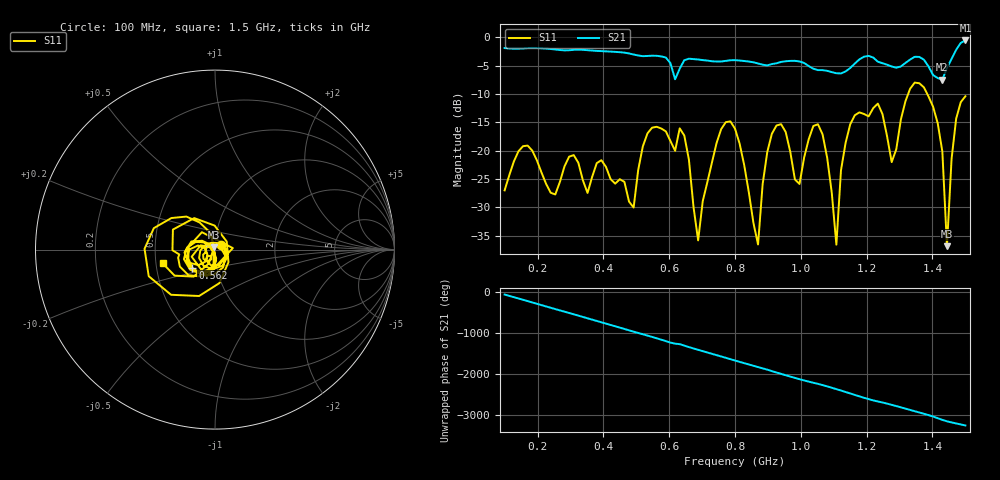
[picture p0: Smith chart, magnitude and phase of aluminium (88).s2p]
! NanoVNA-App
! Date: 2025-09-25 14:55:57
! Start: 100MHz Stop: 1,5GHz Points: 101
! S-Parameter data: F S11 S21 S12 S22
# Hz S RI R 50
!  Frequency  S11_Real  S11_Imag  S21_Real  S21_Imag  S12_Real  S12_Imag  S22_Real  S22_Imag
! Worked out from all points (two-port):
!   101 points, 100 MHz to 1.5 GHz, reference 50 ohm
!   highest |S21| = -0.58 dB at 1.5 GHz (marker M1); lowest = -7.5 dB at 1.43 GHz (marker M2)
!   |S21| within 3 dB of the highest: start of sweep to 589.6 MHz; 1.46 GHz to end of sweep (the widest 2 of 4)
!   lowest |S11| = -36.8 dB at 1.444 GHz (marker M3), VSWR 1.03, Z = 49.5 + j1.33 ohm
!   |S11| at or under -10 dB: start of sweep to 1.326 GHz; 1.384 GHz to end of sweep
!   S12 and S22 are empty: the file has one direction only
!   S11 on the Smith chart (normalised r, x): 100 MHz: 1.07, +0.06; 562 MHz: 0.76, -0.16; 1.5 GHz: 0.54, -0.09
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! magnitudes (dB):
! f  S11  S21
! 100 MHz  -27.0  -1.9
! 170 MHz  -19.1  -1.9
! 338 MHz  -25.3  -2.2
! 492 MHz  -30.0  -3.1
! 562 MHz  -15.8  -3.3
! 576 MHz  -16.1  -3.4
! 646 MHz  -17.3  -4.1
! 688 MHz  -35.8  -3.9
! 800 MHz  -16.1  -4.0
! 870 MHz  -36.5  -4.6
! 912 MHz  -17.0  -4.7
! 996 MHz  -25.9  -4.3
! 1.038 GHz  -15.7  -5.6
! 1.108 GHz  -36.6  -6.4
! 1.122 GHz  -23.5  -6.4
! 1.164 GHz  -13.8  -4.7
! 1.276 GHz  -22.0  -5.2
! 1.346 GHz  -8.0  -3.5
! 1.43 GHz  -20.2  -7.5
! 1.444 GHz  -36.8  -5.4
! 1.472 GHz  -14.3  -2.2
! 1.5 GHz  -10.4  -0.6
